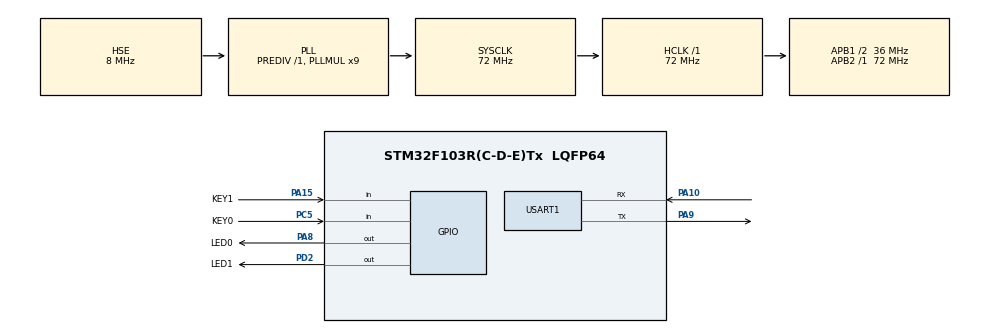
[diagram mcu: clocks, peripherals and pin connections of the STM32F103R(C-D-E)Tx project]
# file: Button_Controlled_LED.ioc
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Mcu.Family=STM32F1
Mcu.Name=STM32F103R(C-D-E)Tx
Mcu.Package=LQFP64
NVIC.PriorityGroup=NVIC_PRIORITYGROUP_4
PA10.Mode=Asynchronous
PA10.Signal=USART1_RX
PA13.Mode=Serial_Wire
PA13.Signal=SYS_JTMS-SWDIO
PA14.Mode=Serial_Wire
PA14.Signal=SYS_JTCK-SWCLK
PA15.GPIO_Label=KEY1
PA15.GPIO_PuPd=GPIO_PULLUP
PA15.Signal=GPIO_Input
PA8.GPIO_Label=LED0
PA8.GPIO_ModeDefaultOutputPP=GPIO_MODE_OUTPUT_PP
PA8.GPIO_PuPd=GPIO_PULLUP
PA8.GPIO_Speed=GPIO_SPEED_FREQ_HIGH
PA8.PinState=GPIO_PIN_SET
PA8.Signal=GPIO_Output
PA9.Mode=Asynchronous
PA9.Signal=USART1_TX
PC14-OSC32_IN.Mode=LSE-External-Oscillator
PC14-OSC32_IN.Signal=RCC_OSC32_IN
PC15-OSC32_OUT.Mode=LSE-External-Oscillator
PC15-OSC32_OUT.Signal=RCC_OSC32_OUT
PC5.GPIO_Label=KEY0
PC5.GPIO_PuPd=GPIO_PULLUP
PC5.Signal=GPIO_Input
PD0-OSC_IN.Mode=HSE-External-Oscillator
PD0-OSC_IN.Signal=RCC_OSC_IN
PD1-OSC_OUT.Mode=HSE-External-Oscillator
PD1-OSC_OUT.Signal=RCC_OSC_OUT
PD2.GPIO_Label=LED1
PD2.GPIO_PuPd=GPIO_PULLUP
PD2.GPIO_Speed=GPIO_SPEED_FREQ_HIGH
PD2.PinState=GPIO_PIN_RESET
PD2.Signal=GPIO_Output
ProjectManager.HeapSize=0x200
ProjectManager.StackSize=0x400
ProjectManager.TargetToolchain=STM32CubeIDE
RCC.AHBFreq_Value=72000000
RCC.APB1CLKDivider=RCC_HCLK_DIV2
RCC.APB1Freq_Value=36000000
RCC.APB1TimFreq_Value=72000000
RCC.APB2Freq_Value=72000000
RCC.APB2TimFreq_Value=72000000
RCC.HCLKFreq_Value=72000000
RCC.PLLMUL=RCC_PLL_MUL9
RCC.PLLSourceVirtual=RCC_PLLSOURCE_HSE
RCC.SYSCLKFreq_VALUE=72000000
RCC.SYSCLKSource=RCC_SYSCLKSOURCE_PLLCLK
RCC.USBFreq_Value=72000000
USART1.VirtualMode=VM_ASYNC
board=custom

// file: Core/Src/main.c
/* USER CODE BEGIN Header */
/**
  ******************************************************************************
  * @file           : main.c
  * @brief          : Main program body
  ******************************************************************************
  * @attention
  *
  * Copyright (c) 2022 STMicroelectronics.
  * All rights reserved.
  *
  * This software is licensed under terms that can be found in the LICENSE file
  * in the root directory of this software component.
  * If no LICENSE file comes with this software, it is provided AS-IS.
  *
  ******************************************************************************
  */
/* USER CODE END Header */
#include "main.h"

/* USER CODE BEGIN Includes */
#include "retarget.h"

/* USER CODE END Includes */

UART_HandleTypeDef huart1;

void SystemClock_Config(void);
static void MX_GPIO_Init(void);
static void MX_USART1_UART_Init(void);

int main(void)
{
  /* USER CODE BEGIN 1 */
    RetargetInit(&huart1);
  /* USER CODE END 1 */

  /* MCU Configuration--------------------------------------------------------*/

  /* Reset of all peripherals, Initializes the Flash interface and the Systick. */
  HAL_Init();

  /* Configure the system clock */
  SystemClock_Config();

  /* Initialize all configured peripherals */
  MX_GPIO_Init();
  MX_USART1_UART_Init();

  /* Infinite loop */
  /* USER CODE BEGIN WHILE */
    while (1)
    {
        if(HAL_GPIO_ReadPin(KEY0_GPIO_Port, KEY0_Pin) == 0 )
        {
            printf("Key0 down %f\n", 0.1);
            HAL_Delay(100);
            HAL_GPIO_WritePin(LED0_GPIO_Port, LED0_Pin,GPIO_PIN_RESET);
            while(HAL_GPIO_ReadPin(KEY0_GPIO_Port, KEY0_Pin) == 0 );
            HAL_Delay(100);
            HAL_GPIO_WritePin(LED0_GPIO_Port, LED0_Pin,GPIO_PIN_SET);
            printf("Key0 up\n");
        }

        if(HAL_GPIO_ReadPin(KEY1_GPIO_Port, KEY1_Pin) == 0 )
        {
            printf("Key1 down\n");
            HAL_Delay(100);
            while(HAL_GPIO_ReadPin(KEY1_GPIO_Port, KEY1_Pin) == 0 );
            printf("Key1 up\n");
            HAL_Delay(100);
            HAL_GPIO_TogglePin(LED1_GPIO_Port, LED1_Pin);
        }
    /* USER CODE END WHILE */

    }
}

void SystemClock_Config(void)
{
  RCC_OscInitTypeDef RCC_OscInitStruct = {0};
  RCC_ClkInitTypeDef RCC_ClkInitStruct = {0};

  /** Initializes the RCC Oscillators according to the specified parameters
  * in the RCC_OscInitTypeDef structure.
  */
  RCC_OscInitStruct.OscillatorType = RCC_OSCILLATORTYPE_HSE;
  RCC_OscInitStruct.HSEState = RCC_HSE_ON;
  RCC_OscInitStruct.HSEPredivValue = RCC_HSE_PREDIV_DIV1;
  RCC_OscInitStruct.HSIState = RCC_HSI_ON;
  RCC_OscInitStruct.PLL.PLLState = RCC_PLL_ON;
  RCC_OscInitStruct.PLL.PLLSource = RCC_PLLSOURCE_HSE;
  RCC_OscInitStruct.PLL.PLLMUL = RCC_PLL_MUL9;
  if (HAL_RCC_OscConfig(&RCC_OscInitStruct) != HAL_OK)
  {
    Error_Handler();
  }

  /** Initializes the CPU, AHB and APB buses clocks
  */
  RCC_ClkInitStruct.ClockType = RCC_CLOCKTYPE_HCLK|RCC_CLOCKTYPE_SYSCLK
                              |RCC_CLOCKTYPE_PCLK1|RCC_CLOCKTYPE_PCLK2;
  RCC_ClkInitStruct.SYSCLKSource = RCC_SYSCLKSOURCE_PLLCLK;
  RCC_ClkInitStruct.AHBCLKDivider = RCC_SYSCLK_DIV1;
  RCC_ClkInitStruct.APB1CLKDivider = RCC_HCLK_DIV2;
  RCC_ClkInitStruct.APB2CLKDivider = RCC_HCLK_DIV1;

  if (HAL_RCC_ClockConfig(&RCC_ClkInitStruct, FLASH_LATENCY_2) != HAL_OK)
  {
    Error_Handler();
  }
}

static void MX_USART1_UART_Init(void)
{

  huart1.Instance = USART1;
  huart1.Init.BaudRate = 115200;
  huart1.Init.WordLength = UART_WORDLENGTH_8B;
  huart1.Init.StopBits = UART_STOPBITS_1;
  huart1.Init.Parity = UART_PARITY_NONE;
  huart1.Init.Mode = UART_MODE_TX_RX;
  huart1.Init.HwFlowCtl = UART_HWCONTROL_NONE;
  huart1.Init.OverSampling = UART_OVERSAMPLING_16;
  if (HAL_UART_Init(&huart1) != HAL_OK)
  {
    Error_Handler();
  }

}

static void MX_GPIO_Init(void)
{
  GPIO_InitTypeDef GPIO_InitStruct = {0};

  /* GPIO Ports Clock Enable */
  __HAL_RCC_GPIOC_CLK_ENABLE();
  __HAL_RCC_GPIOD_CLK_ENABLE();
  __HAL_RCC_GPIOA_CLK_ENABLE();

  /*Configure GPIO pin Output Level */
  HAL_GPIO_WritePin(LED0_GPIO_Port, LED0_Pin, GPIO_PIN_SET);

  /*Configure GPIO pin Output Level */
  HAL_GPIO_WritePin(LED1_GPIO_Port, LED1_Pin, GPIO_PIN_RESET);

  /*Configure GPIO pin : KEY0_Pin */
  GPIO_InitStruct.Pin = KEY0_Pin;
  GPIO_InitStruct.Mode = GPIO_MODE_INPUT;
  GPIO_InitStruct.Pull = GPIO_PULLUP;
  HAL_GPIO_Init(KEY0_GPIO_Port, &GPIO_InitStruct);

  /*Configure GPIO pin : LED0_Pin */
  GPIO_InitStruct.Pin = LED0_Pin;
  GPIO_InitStruct.Mode = GPIO_MODE_OUTPUT_PP;
  GPIO_InitStruct.Pull = GPIO_PULLUP;
  GPIO_InitStruct.Speed = GPIO_SPEED_FREQ_HIGH;
  HAL_GPIO_Init(LED0_GPIO_Port, &GPIO_InitStruct);

  /*Configure GPIO pin : KEY1_Pin */
  GPIO_InitStruct.Pin = KEY1_Pin;
  GPIO_InitStruct.Mode = GPIO_MODE_INPUT;
  GPIO_InitStruct.Pull = GPIO_PULLUP;
  HAL_GPIO_Init(KEY1_GPIO_Port, &GPIO_InitStruct);

  /*Configure GPIO pin : LED1_Pin */
  GPIO_InitStruct.Pin = LED1_Pin;
  GPIO_InitStruct.Mode = GPIO_MODE_OUTPUT_PP;
  GPIO_InitStruct.Pull = GPIO_PULLUP;
  GPIO_InitStruct.Speed = GPIO_SPEED_FREQ_HIGH;
  HAL_GPIO_Init(LED1_GPIO_Port, &GPIO_InitStruct);

}

void Error_Handler(void)
{
    __disable_irq();
    while (1)
    {
    }
}
